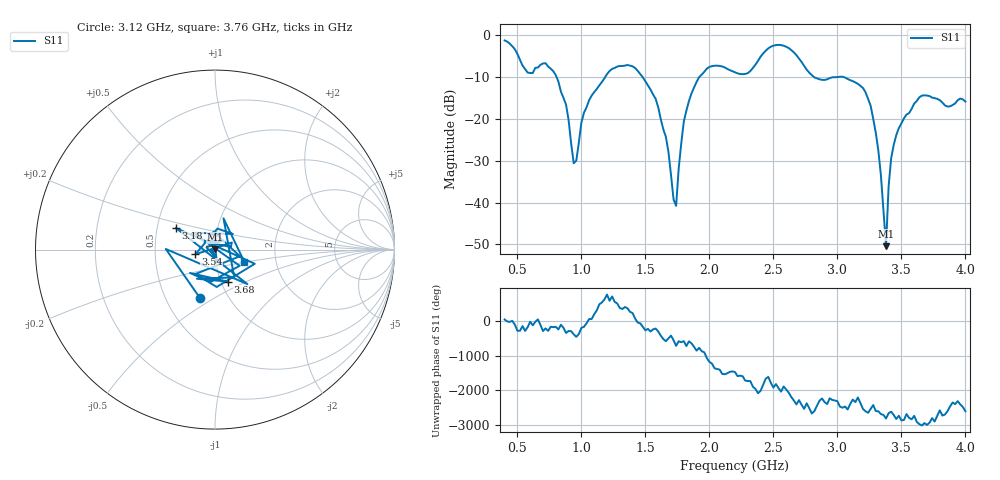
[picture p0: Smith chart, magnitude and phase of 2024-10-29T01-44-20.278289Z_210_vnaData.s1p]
!Created with skrf (http://scikit-rf.org).
# Hz S RI R 50.0
!freq ReS11 ImS11
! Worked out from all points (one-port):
!   181 points, 400 MHz to 4 GHz, reference 50 ohm
!   lowest |S11| = -50.4 dB at 3.38 GHz (marker M1), VSWR 1.01, Z = 50.1 + j0.275 ohm
!   |S11| at or under -10 dB: 806.6 MHz to 1.185 GHz (378.2 MHz wide, 38 % of centre); 1.48 GHz to 1.919 GHz (439.5 MHz wide, 25.9 % of centre); 3.053 GHz to end of sweep (the widest 3 of 4)
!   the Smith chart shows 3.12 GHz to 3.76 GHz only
!   S11 on the Smith chart (normalised r, x): 3.12 GHz: 0.74, -0.44; 3.18 GHz: 0.63, +0.16; 3.54 GHz: 0.80, -0.04; 3.68 GHz: 1.08, -0.40; 3.76 GHz: 1.38, -0.20
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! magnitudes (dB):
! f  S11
! 400 MHz  -1.2
! 580 MHz  -8.9
! 720 MHz  -6.6
! 860 MHz  -14.9
! 940 MHz  -30.6
! 1.06 GHz  -15.5
! 1.3 GHz  -7.3
! 1.58 GHz  -15.1
! 1.66 GHz  -24.3
! 1.74 GHz  -40.7
! 1.76 GHz  -31.9
! 1.8 GHz  -20.6
! 1.92 GHz  -10.0
! 2.2 GHz  -8.8
! 2.66 GHz  -4.0
! 2.82 GHz  -10.0
! 3.1 GHz  -10.7
! 3.12 GHz  -10.9
! 3.18 GHz  -12.1
! 3.3 GHz  -23.3
! 3.38 GHz  -50.4
! 3.4 GHz  -36.2
! 3.42 GHz  -29.4
! 3.54 GHz  -18.9
! 3.56 GHz  -18.6
! 3.68 GHz  -14.3
! 3.76 GHz  -15.0
! 4 GHz  -15.8
